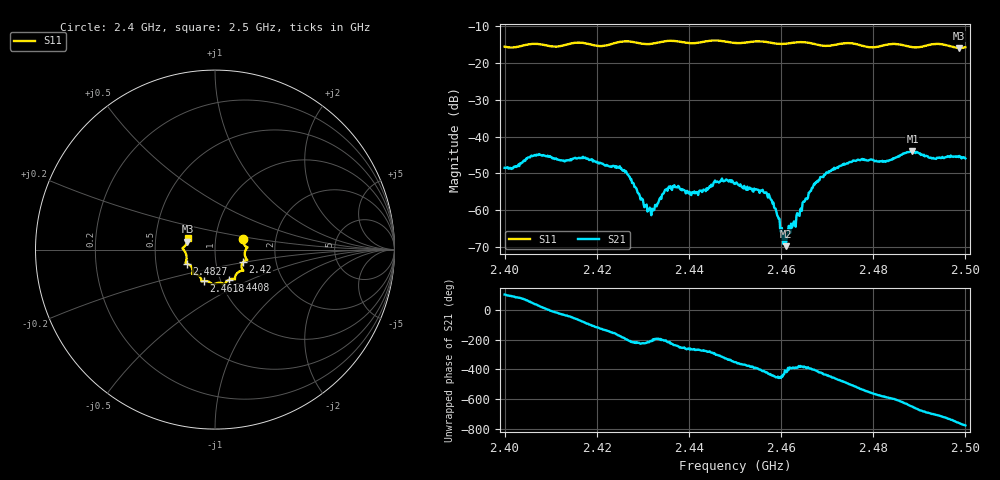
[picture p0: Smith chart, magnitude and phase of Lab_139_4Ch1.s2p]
# Hz S RI R 50
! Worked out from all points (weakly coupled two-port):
!   601 points, 2.4 GHz to 2.5 GHz, reference 50 ohm
!   highest |S21| = -43.96 dB at 2.4885 GHz (marker M1); lowest = -69.8 dB at 2.461 GHz (marker M2)
!   lowest |S11| = -15.9 dB at 2.4987 GHz (marker M3), VSWR 1.38, Z = 36.5 + j3.25 ohm
!   |S11| at or under -10 dB: start of sweep to end of sweep
!   S12 and S22 are empty: the file has one direction only
!   S11 on the Smith chart (normalised r, x): 2.4 GHz: 1.35, +0.17; 2.42 GHz: 1.35, -0.19; 2.4408 GHz: 1.10, -0.38; 2.4618 GHz: 0.83, -0.30; 2.4827 GHz: 0.72, -0.12; 2.5 GHz: 0.73, +0.10
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2.4e9  0.1547 0.0613  -0.000956 0.00364  0 0  0 0
2.407e9  0.1812 0.0121  0.00464 0.00329  0 0  0 0
2.416667e9  0.1789 -0.0585  0.0013 -0.00499  0 0  0 0
2.42e9  0.1564 -0.0691  -0.00198 -0.00411  0 0  0 0
2.426333e9  0.158 -0.1172  -0.00324 0.00102  0 0  0 0
2.4315e9  0.12 -0.1353  -0.000932 0.000552  0 0  0 0
2.433333e9  0.1115 -0.153  -0.00122 0.000296  0 0  0 0
2.436167e9  0.1111 -0.166  -0.00135 0.00141  0 0  0 0
2.440833e9  0.0776 -0.1684  -0.000104 0.00175  0 0  0 0
2.445833e9  0.0526 -0.1952  0.00128 0.00205  0 0  0 0
2.45e9  0.0267 -0.1849  0.00225 0.000356  0 0  0 0
2.457167e9  -0.0183 -0.1905  0.000524 -0.00139  0 0  0 0
2.461e9  -0.0531 -0.1747  0.000191 -0.000263  0 0  0 0
2.461833e9  -0.0614 -0.175  0.000514 -0.000255  0 0  0 0
2.466667e9  -0.0757 -0.1682  0.00155 -0.00127  0 0  0 0
2.469833e9  -0.0941 -0.1423  0.000697 -0.00319  0 0  0 0
2.475167e9  -0.1269 -0.1351  -0.00367 -0.00262  0 0  0 0
2.482667e9  -0.1577 -0.0777  -0.00319 0.00323  0 0  0 0
2.483333e9  -0.1616 -0.0769  -0.00291 0.00365  0 0  0 0
2.4885e9  -0.1584 -0.0424  0.00228 0.00591  0 0  0 0
2.498667e9  -0.1538 0.0433  0.00402 -0.00369  0 0  0 0
2.5e9  -0.1509 0.0632  0.00268 -0.00429  0 0  0 0
